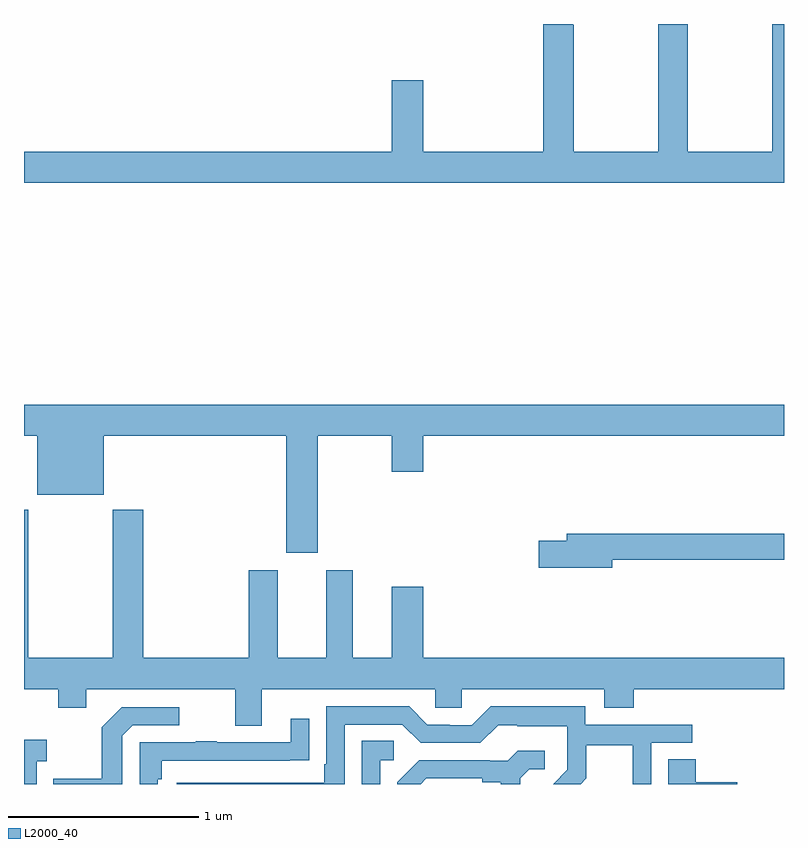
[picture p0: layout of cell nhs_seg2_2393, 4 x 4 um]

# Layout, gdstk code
import gdstk
lib = gdstk.Library(unit=1e-6, precision=1e-09)
def P(c, l, *ps):  # polygons
    for p in ps: c.add(gdstk.Polygon(p, *l))
L2000_40 = (2000, 40)

nhs_seg2_2393 = lib.new_cell('nhs_seg2_2393')
P(nhs_seg2_2393, L2000_40, [(239,653.8),(238.939,653.8),(238.939,653.128),(238.494,653.128),(238.494,653.8),(238.339,653.8),(238.339,653.128),(237.894,653.128),(237.894,653.795),(237.889,653.795),(237.889,653.8),(237.734,653.8),(237.734,653.128),(237.1,653.128),(237.1,653.503),(236.936,653.503),(236.936,653.128),(235,653.128),(235,652.964),(239,652.964)],
  [(236.545,651.632),(236.936,651.632),(236.936,651.444),(237.1,651.444),(237.1,651.632),(239,651.632),(239,651.796),(235,651.796),(235,651.632),(235.07,651.632),(235.07,651.323),(235.42,651.323),(235.42,651.632),(236.381,651.632),(236.381,651.018),(236.545,651.018)],
  [(236.251,650.3),(237.165,650.3),(237.165,650.202),(237.303,650.202),(237.303,650.3),(238.055,650.3),(238.055,650.201),(238.208,650.201),(238.208,650.3),(239,650.3),(239,650.464),(237.1,650.464),(237.1,650.839),(236.936,650.839),(236.936,650.464),(236.731,650.464),(236.731,650.926),(236.591,650.926),(236.591,650.464),(236.335,650.464),(236.335,650.926),(236.183,650.926),(236.183,650.464),(235.628,650.464),(235.628,651.244),(235.468,651.244),(235.468,650.464),(235.023,650.464),(235.023,651.244),(235,651.244),(235,650.3),(235.18,650.3),(235.18,650.201),(235.327,650.201),(235.327,650.3),(236.111,650.3),(236.111,650.106),(236.251,650.106)],
  [(238.096,650.98),(239,650.98),(239,651.116),(237.857,651.116),(237.857,651.08),(237.708,651.08),(237.708,650.938),(238.096,650.938)],
  [(236.688,650.112),(236.991,650.112),(237.087,650.016),(237.402,650.016),(237.495,650.109),(237.595,650.109),(237.595,650.105),(237.858,650.105),(237.858,649.971),(237.86,649.971),(237.86,649.874),(237.786,649.8),(237.93,649.8),(237.959,649.829),(237.959,650.004),(238.204,650.004),(238.204,649.8),(238.302,649.8),(238.302,650.016),(238.516,650.016),(238.516,650.112),(237.954,650.112),(237.954,650.209),(237.457,650.209),(237.357,650.109),(237.242,650.109),(237.242,650.112),(237.123,650.112),(237.027,650.208),(236.592,650.208),(236.592,649.903),(236.579,649.903),(236.579,649.806),(235.803,649.806),(235.803,649.8),(236.688,649.8)],
  [(235.518,650.055),(235.572,650.109),(235.816,650.109),(235.816,650.205),(235.515,650.205),(235.41,650.099),(235.41,649.827),(235.153,649.827),(235.153,649.8),(235.518,649.8)],
  [(235.704,649.826),(235.724,649.826),(235.724,649.923),(236.399,649.923),(236.399,649.924),(236.501,649.924),(236.501,650.143),(236.405,650.143),(236.405,650.019),(236.015,650.019),(236.015,650.024),(235.903,650.024),(235.903,650.019),(235.608,650.019),(235.608,649.8),(235.704,649.8)],
  [(235.068,649.919),(235.12,649.919),(235.12,650.032),(235,650.032),(235,649.8),(235.068,649.8)],
  [(236.874,649.926),(236.947,649.926),(236.947,650.027),(236.778,650.027),(236.778,649.8),(236.874,649.8)],
  [(237.118,649.83),(237.413,649.83),(237.413,649.808),(237.509,649.808),(237.509,649.8),(237.613,649.8),(237.613,649.831),(237.66,649.878),(237.742,649.878),(237.742,649.975),(237.598,649.975),(237.546,649.923),(237.452,649.923),(237.452,649.926),(237.08,649.926),(236.964,649.81),(236.964,649.8),(237.088,649.8)],
  [(238.753,649.808),(238.535,649.808),(238.535,649.931),(238.391,649.931),(238.391,649.8),(238.753,649.8)])

lib.write_gds('nhs_seg2_2393.gds')
